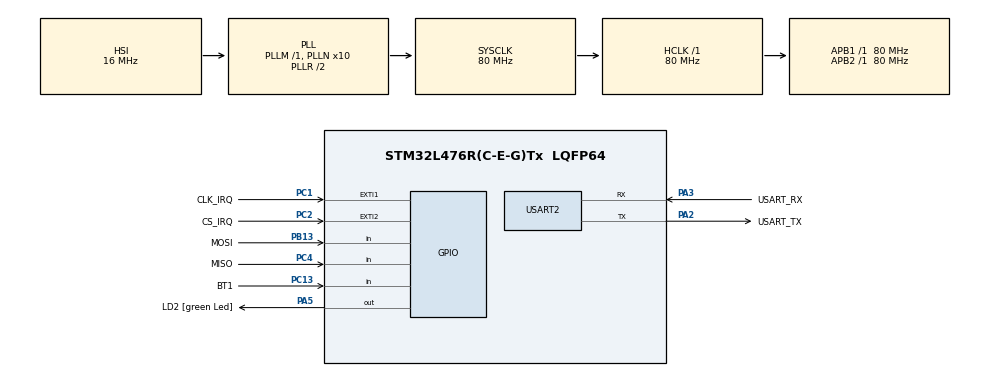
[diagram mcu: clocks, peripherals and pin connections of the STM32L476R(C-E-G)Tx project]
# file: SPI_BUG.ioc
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Mcu.Family=STM32L4
Mcu.Name=STM32L476R(C-E-G)Tx
Mcu.Package=LQFP64
NVIC.EXTI1_IRQn=true\:0\:0\:false\:false\:true\:true\:true\:true
NVIC.EXTI2_IRQn=true\:0\:0\:false\:false\:true\:true\:true\:true
NVIC.PriorityGroup=NVIC_PRIORITYGROUP_4
PA13\ (JTMS-SWDIO).GPIO_Label=TMS
PA13\ (JTMS-SWDIO).Mode=Serial_Wire
PA13\ (JTMS-SWDIO).Signal=SYS_JTMS-SWDIO
PA14\ (JTCK-SWCLK).GPIO_Label=TCK
PA14\ (JTCK-SWCLK).Mode=Serial_Wire
PA14\ (JTCK-SWCLK).Signal=SYS_JTCK-SWCLK
PA2.GPIO_Label=USART_TX
PA2.GPIO_Mode=GPIO_MODE_AF_PP
PA2.GPIO_PuPd=GPIO_NOPULL
PA2.GPIO_Speed=GPIO_SPEED_FREQ_VERY_HIGH
PA2.Mode=Asynchronous
PA2.Signal=USART2_TX
PA3.GPIO_Label=USART_RX
PA3.GPIO_Mode=GPIO_MODE_AF_PP
PA3.GPIO_PuPd=GPIO_NOPULL
PA3.GPIO_Speed=GPIO_SPEED_FREQ_VERY_HIGH
PA3.Mode=Asynchronous
PA3.Signal=USART2_RX
PA5.GPIO_Label=LD2 [green Led]
PA5.GPIO_ModeDefaultOutputPP=GPIO_MODE_OUTPUT_PP
PA5.GPIO_PuPd=GPIO_NOPULL
PA5.GPIO_Speed=GPIO_SPEED_FREQ_LOW
PA5.Signal=GPIO_Output
PB13.GPIO_Label=MOSI
PB13.GPIO_PuPd=GPIO_PULLUP
PB13.Signal=GPIO_Input
PB3\ (JTDO-TRACESWO).GPIO_Label=SWO
PB3\ (JTDO-TRACESWO).Signal=SYS_JTDO-SWO
PC1.GPIO_Label=CLK_IRQ
PC1.GPIO_ModeDefaultEXTI=GPIO_MODE_IT_RISING
PC1.GPIO_PuPd=GPIO_PULLUP
PC1.Signal=GPXTI1
PC13.GPIO_Label=BT1
PC13.GPIO_PuPd=GPIO_PULLUP
PC13.Signal=GPIO_Input
PC14-OSC32_IN\ (PC14).Mode=LSE-External-Oscillator
PC14-OSC32_IN\ (PC14).Signal=RCC_OSC32_IN
PC15-OSC32_OUT\ (PC15).Mode=LSE-External-Oscillator
PC15-OSC32_OUT\ (PC15).Signal=RCC_OSC32_OUT
PC2.GPIO_Label=CS_IRQ
PC2.GPIO_ModeDefaultEXTI=GPIO_MODE_IT_RISING
PC2.GPIO_PuPd=GPIO_PULLUP
PC2.Signal=GPXTI2
PC4.GPIO_Label=MISO
PC4.GPIO_PuPd=GPIO_PULLUP
PC4.Signal=GPIO_Input
PH0-OSC_IN\ (PH0).Signal=RCC_OSC_IN
PH1-OSC_OUT\ (PH1).Signal=RCC_OSC_OUT
ProjectManager.HeapSize=0x200
ProjectManager.StackSize=0x400
ProjectManager.TargetToolchain=STM32CubeIDE
RCC.ADCFreq_Value=80000000
RCC.AHBFreq_Value=80000000
RCC.APB1Freq_Value=80000000
RCC.APB1TimFreq_Value=80000000
RCC.APB2Freq_Value=80000000
RCC.APB2TimFreq_Value=80000000
RCC.CortexFreq_Value=80000000
RCC.HCLKFreq_Value=80000000
RCC.HSE_VALUE=8000000
RCC.HSI_VALUE=16000000
RCC.MSI_VALUE=4000000
RCC.PLLN=10
RCC.PLLSAI1N=10
RCC.PLLSourceVirtual=RCC_PLLSOURCE_HSI
RCC.PREFETCH_ENABLE=1
RCC.SYSCLKFreq_VALUE=80000000
RCC.SYSCLKSource=RCC_SYSCLKSOURCE_PLLCLK
RCC.USBFreq_Value=80000000
RCC.VCOOutputFreq_Value=160000000
USART2.VirtualMode-Asynchronous=VM_ASYNC
board=NUCLEO-L476RG

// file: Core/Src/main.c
/* USER CODE BEGIN Header */
/**
  ******************************************************************************
  * @file           : main.c
  * @brief          : Main program body
  ******************************************************************************
  * @attention
  *
  * Copyright (c) 2023 STMicroelectronics.
  * All rights reserved.
  *
  * This software is licensed under terms that can be found in the LICENSE file
  * in the root directory of this software component.
  * If no LICENSE file comes with this software, it is provided AS-IS.
  *
  ******************************************************************************
  */
/* USER CODE END Header */
#include "main.h"
#include "usart.h"
#include "gpio.h"

void SystemClock_Config(void);

/* USER CODE BEGIN 0 */
int __io_putchar(int ch)
  {
    if (ch == '\n') {
      __io_putchar('\r');
    }

    HAL_UART_Transmit(&huart2, (uint8_t*)&ch, 1, HAL_MAX_DELAY);

    return 1;
  }

volatile uint32_t clk_counter = 0;
volatile uint32_t lastIRQ = 0;

volatile uint32_t regRead = 0;
volatile uint16_t regAddr = 0;
volatile uint8_t regVal = 0;
volatile uint8_t regValHistory[100];
volatile uint8_t regValHistoryLastIndex=0;

void HAL_GPIO_EXTI_Callback(uint16_t GPIO_Pin)
{
  if (GPIO_Pin == CLK_IRQ_Pin) {

	  clk_counter++;

	  regRead = regRead << 1;

	  if( clk_counter < 25 )	 regRead = regRead | (HAL_GPIO_ReadPin(MOSI_GPIO_Port, MOSI_Pin) == GPIO_PIN_RESET ? 0 : 1);
	  else { 					 regRead = regRead | (HAL_GPIO_ReadPin(MISO_GPIO_Port, MISO_Pin) == GPIO_PIN_RESET ? 0 : 1);

	  }
	/*
	  EXTI1_IRQn                  = 7,  clk
  	  EXTI2_IRQn                  = 8, 	cs
	 void NVIC_EnableIRQ(IRQn_Type IRQn);
	 void NVIC_DisableIRQ(IRQn_Type IRQn);
	 */
    	  }

  if (GPIO_Pin == CS_IRQ_Pin) {
	  HAL_GPIO_WritePin(LD2_GPIO_Port,LD2_Pin,GPIO_PIN_RESET);
	  NVIC_DisableIRQ(EXTI1_IRQn);
	  NVIC_DisableIRQ(EXTI2_IRQn);

	  regAddr = (regRead >> 8) & 0xFFFF;

	  if(regAddr > 0x6000)
	  {

		  regVal = regRead & 0xFF;

	  			  if(regValHistoryLastIndex < 100)
	  			  {
	  				  regValHistory[regValHistoryLastIndex] = regVal;
	  				  regValHistoryLastIndex++;
	  			  }
	  			  else
	  			  {
	  				  regValHistoryLastIndex =0;
	  			  }
	  }

regRead = 0;
clk_counter = 0;
regAddr = 0;
regVal = 0;

NVIC_EnableIRQ(EXTI1_IRQn);
NVIC_EnableIRQ(EXTI2_IRQn);
HAL_GPIO_WritePin(LD2_GPIO_Port,LD2_Pin,GPIO_PIN_SET);

  }
}
/* USER CODE END 0 */

int main(void)
{

  /* MCU Configuration--------------------------------------------------------*/

  /* Reset of all peripherals, Initializes the Flash interface and the Systick. */
  HAL_Init();

  /* Configure the system clock */
  SystemClock_Config();

  /* Initialize all configured peripherals */
  MX_GPIO_Init();
  MX_USART2_UART_Init();
  /* USER CODE BEGIN 2 */
  for(int i=0; i<6 ;i++)
  {
	  HAL_GPIO_TogglePin(LD2_GPIO_Port, LD2_Pin);
	  HAL_Delay(100);
  }

  /* USER CODE END 2 */

  /* Infinite loop */
  /* USER CODE BEGIN WHILE */
  while (1)
  {

	 // if((HAL_GetTick() - lastIRQ ) >= 1)
	 // {
		 // clk_counter = 0;

	//  }

    /* USER CODE END WHILE */

  }
}

void SystemClock_Config(void)
{
  RCC_OscInitTypeDef RCC_OscInitStruct = {0};
  RCC_ClkInitTypeDef RCC_ClkInitStruct = {0};

  /** Configure the main internal regulator output voltage
  */
  if (HAL_PWREx_ControlVoltageScaling(PWR_REGULATOR_VOLTAGE_SCALE1) != HAL_OK)
  {
    Error_Handler();
  }

  /** Initializes the RCC Oscillators according to the specified parameters
  * in the RCC_OscInitTypeDef structure.
  */
  RCC_OscInitStruct.OscillatorType = RCC_OSCILLATORTYPE_HSI;
  RCC_OscInitStruct.HSIState = RCC_HSI_ON;
  RCC_OscInitStruct.HSICalibrationValue = RCC_HSICALIBRATION_DEFAULT;
  RCC_OscInitStruct.PLL.PLLState = RCC_PLL_ON;
  RCC_OscInitStruct.PLL.PLLSource = RCC_PLLSOURCE_HSI;
  RCC_OscInitStruct.PLL.PLLM = 1;
  RCC_OscInitStruct.PLL.PLLN = 10;
  RCC_OscInitStruct.PLL.PLLP = RCC_PLLP_DIV7;
  RCC_OscInitStruct.PLL.PLLQ = RCC_PLLQ_DIV2;
  RCC_OscInitStruct.PLL.PLLR = RCC_PLLR_DIV2;
  if (HAL_RCC_OscConfig(&RCC_OscInitStruct) != HAL_OK)
  {
    Error_Handler();
  }

  /** Initializes the CPU, AHB and APB buses clocks
  */
  RCC_ClkInitStruct.ClockType = RCC_CLOCKTYPE_HCLK|RCC_CLOCKTYPE_SYSCLK
                              |RCC_CLOCKTYPE_PCLK1|RCC_CLOCKTYPE_PCLK2;
  RCC_ClkInitStruct.SYSCLKSource = RCC_SYSCLKSOURCE_PLLCLK;
  RCC_ClkInitStruct.AHBCLKDivider = RCC_SYSCLK_DIV1;
  RCC_ClkInitStruct.APB1CLKDivider = RCC_HCLK_DIV1;
  RCC_ClkInitStruct.APB2CLKDivider = RCC_HCLK_DIV1;

  if (HAL_RCC_ClockConfig(&RCC_ClkInitStruct, FLASH_LATENCY_4) != HAL_OK)
  {
    Error_Handler();
  }
}

void Error_Handler(void)
{
  __disable_irq();
  while (1)
  {
  }
}
